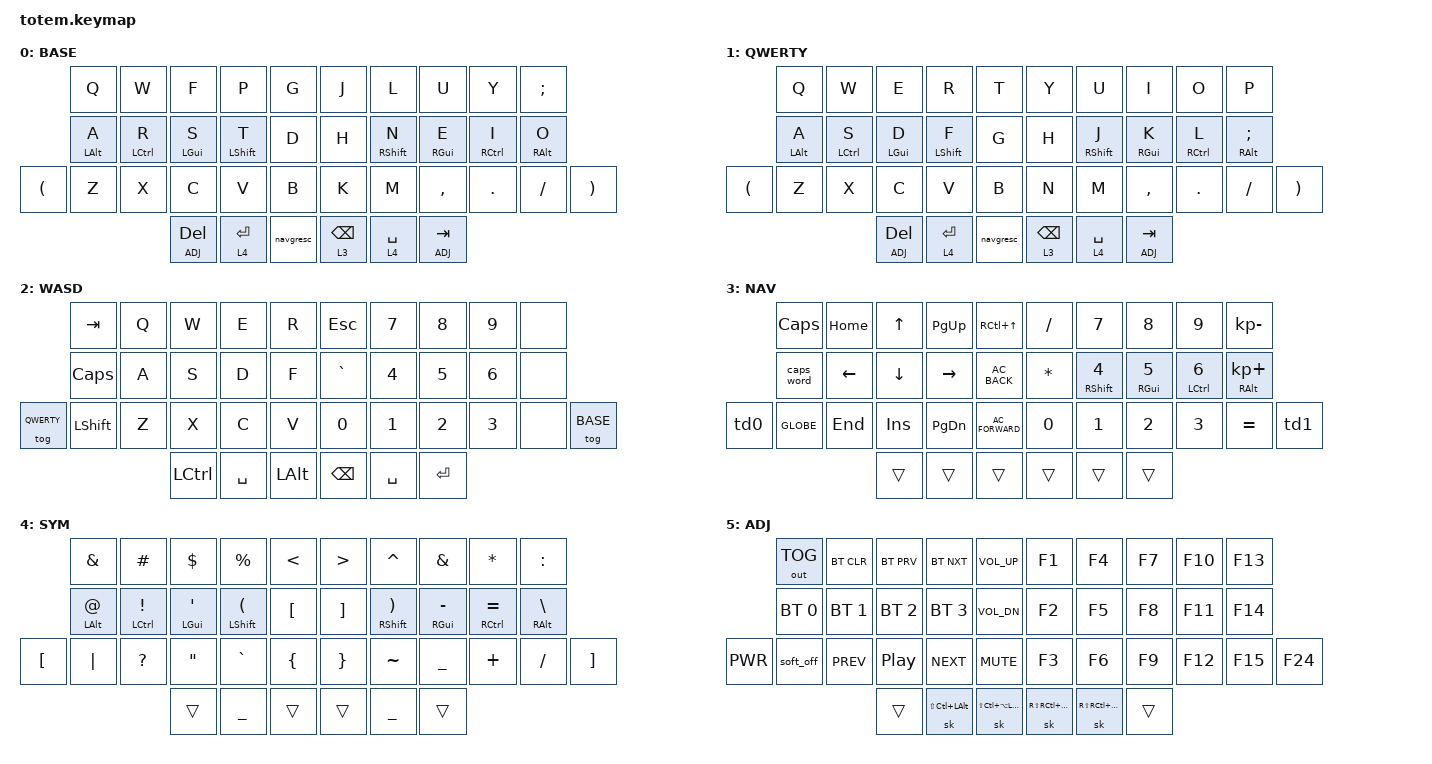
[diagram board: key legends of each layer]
//
//                                                        ▀▀▀▀▀     ▀▀▀▀▀          ▀▀█▀▀
//                                                        ▄▀▀▀▄  ▄  ▄▀▀▀▄  ▄  ▄▀▀▀▄  █  ▄▀▀▀▄
//                                                        █   █  █  █   █  █  █   █  █  █   █
//                                                         ▀▀▀   █   ▀▀▀   █   ▀▀▀   ▀   ▀▀▀
//                                                               █      ▄▄▄█▄▄▄    █   █  
//                                                               ▀      █  █  █     █▄█
//                                                             ▀▀▀▀▀    █  █  █      ▀
//                                                                      ▀  ▀  ▀
//
// ▄▄▄▄▄▄▄▄▄▄▄▄▄▄▄▄▄▄▄▄▄▄▄▄▄▄▄▄▄▄▄▄▄▄▄▄▄▄▄▄▄▄▄▄▄▄▄▄▄▄▄▄▄▄▄▄▄▄▄▄▄▄▄▄▄▄▄▄▄▄▄▄▄▄▄▄▄▄▄▄▄▄▄▄▄▄▄▄▄▄▄▄▄▄▄▄▄▄▄▄▄▄▄▄▄▄▄▄▄▄▄▄▄▄▄▄▄▄▄▄▄▄▄▄▄▄▄▄▄▄▄▄▄▄▄▄▄▄▄▄▄▄▄▄▄▄▄▄▄

#include <behaviors.dtsi>
#include <dt-bindings/zmk/bt.h>
#include <dt-bindings/zmk/keys.h>
#include <dt-bindings/zmk/outputs.h>

#define BASE   0
#define QWERTY 1
#define WASD   2
#define NAV    3
#define SYM    4
#define ADJ    5
#define MSNCTL C_AC_DESKTOP_SHOW_ALL_WINDOWS
#define C_AC_FWD C_AC_FORWARD
#define QUICK_TAP_MS 175

&mt {
    quick-tap-ms = <QUICK_TAP_MS>;
    global-quick-tap;
    flavor = "balanced";
    tapping-term-ms = <300>;
    require-prior-idle-ms = <200>;
};

&lt {
    quick-tap-ms = <QUICK_TAP_MS>;
    global-quick-tap;
    flavor = "tap-preferred";
    tapping-term-ms = <200>;
    require-prior-idle-ms = <200>;
};

&soft_off { hold-time-ms = <1000>; };

/ {
    combos {
        compatible = "zmk,combos";

        combo_caps_word {
            timeout-ms = <100>;
            key-positions = <34 35>;
            bindings = <&caps_word>;
            require-prior-idle-ms = <500>;
            layers = <0 1 2>;
        };

        combo_alfred {
            timeout-ms = <100>;
            key-positions = <33 36>;
            bindings = <&kp LC(SPACE)>;
            require-prior-idle-ms = <500>;
            layers = <0 1 2>;
        };

        combo_wasd {
            timeout-ms = <100>;
            key-positions = <23 24 22>;
            bindings = <&tog WASD>;
            require-prior-idle-ms = <500>;
            layers = <0 1>;
        };

        combo_base {
            timeout-ms = <100>;
            key-positions = <33 34 32>;
            bindings = <&tog BASE>;
            require-prior-idle-ms = <500>;
            layers = <2 3>;
        };

        combo_qwerty {
            timeout-ms = <100>;
            key-positions = <36 37 35>;
            bindings = <&tog QWERTY>;
            require-prior-idle-ms = <500>;
            layers = <0 4>;
        };
    };

    behaviors {
        td0: tap_dance_0 {
            compatible = "zmk,behavior-tap-dance";
            #binding-cells = <0>;
            tapping-term-ms = <200>;
            bindings = <&kp LC(LEFT)>, <&kp LC(LA(LEFT))>;
        };

        td1: tap_dance_1 {
            compatible = "zmk,behavior-tap-dance";
            #binding-cells = <0>;
            tapping-term-ms = <200>;
            bindings = <&kp LC(RIGHT)>, <&kp LC(LA(RIGHT))>;
        };

        navgresc: nav_grave_escape {
            compatible = "zmk,behavior-mod-morph";
            #binding-cells = <0>;
            bindings = <&lt 3 ESC>, <&kp GRAVE>;

            mods = <(MOD_LGUI|MOD_LSFT|MOD_RGUI|MOD_RSFT)>;
            keep-mods = <(MOD_LGUI|MOD_LSFT|MOD_RGUI|MOD_RSFT)>;
        };

        //        lparlt: lparen_lt {
        //            compatible = "zmk,behavior-mod-morph";
        //            #binding-cells = <0>;
        //            bindings = <&kp LPAR>, <&kp LT>;
        //
        //            mods = <(MOD_LSFT|MOD_RSFT)>;
        //        };
        //
        //        rpargt: rparen_gt {
        //            compatible = "zmk,behavior-mod-morph";
        //            #binding-cells = <0>;
        //            bindings = <&kp RPAR>, <&kp GT>;
        //
        //            mods = <(MOD_LSFT|MOD_RSFT)>;
        //        };
    };

    keymap {
        compatible = "zmk,keymap";

        // ▄▄▄▄▄▄▄▄▄▄▄▄▄▄▄▄▄▄▄▄▄▄▄▄▄▄▄▄▄▄▄▄▄▄▄▄▄▄▄▄▄▄▄▄▄▄▄▄▄▄▄▄▄▄▄▄▄▄▄▄▄▄▄▄▄▄▄▄▄▄▄▄▄▄▄▄▄▄▄▄▄▄▄▄▄▄▄▄▄▄▄▄▄▄▄▄▄▄▄▄▄▄▄▄▄▄▄▄▄▄▄▄▄▄▄▄▄▄▄▄▄▄▄▄▄▄▄▄▄▄▄▄▄▄▄▄▄▄▄▄▄▄▄▄▄▄▄▄▄

        base_layer {
            // ┏━━━━━━━━━━━━━━━━━━━━━━━━━━━━━━━━━━━━━━━┓

            label = "BASE";

            // ┗━━━━━━━━━━━━━━━━━━━━━━━━━━━━━━━━━━━━━━━┛
            //             ┏━━━━━━━━━━━┳━━━━━━━━━━━┳━━━━━━━━━━━┳━━━━━━━━━━━┳━━━━━━━━━━━┓   ┏━━━━━━━━━━━┳━━━━━━━━━━━┳━━━━━━━━━━━┳━━━━━━━━━━━┳━━━━━━━━━━━┓
            //             ┃     Q     ┃     W     ┃     F     ┃     P     ┃     G     ┃   ┃     J     ┃     L     ┃     U     ┃     Y     ┃     ;     ┃
            //             ┣━━━━━━━━━━━╋━━━━━━━━━━━╋━━━━━━━━━━━╋━━━━━━━━━━━╋━━━━━━━━━━━┫   ┣━━━━━━━━━━━╋━━━━━━━━━━━╋━━━━━━━━━━━╋━━━━━━━━━━━╋━━━━━━━━━━━┫
            //             ┃    A[A]   ┃    R[C]   ┃    S[G]   ┃    T[S]   ┃     D     ┃   ┃     H     ┃    N[S]   ┃    E[G]   ┃    I[C]   ┃    O[A]   ┃
            // ┏━━━━━━━━━━━╋━━━━━━━━━━━╋━━━━━━━━━━━╋━━━━━━━━━━━╋━━━━━━━━━━━╋━━━━━━━━━━━┫   ┣━━━━━━━━━━━╋━━━━━━━━━━━╋━━━━━━━━━━━╋━━━━━━━━━━━╋━━━━━━━━━━━╋━━━━━━━━━━━┓
            // ┃     (     ┃     Z     ┃     X     ┃     C     ┃     V     ┃     B     ┃   ┃     K     ┃     M     ┃     ,     ┃     .     ┃     /     ┃     )     ┃
            // ┗━━━━━━━━━━━┻━━━━━━━━━━━┻━━━━━━━━━━━╋━━━━━━━━━━━╋━━━━━━━━━━━╋━━━━━━━━━━━┫   ┣━━━━━━━━━━━╋━━━━━━━━━━━╋━━━━━━━━━━━╋━━━━━━━━━━━┻━━━━━━━━━━━┻━━━━━━━━━━━┛
            //                                     ┃  DEL[ADJ] ┃ ENTER[NAV]┃GR/ESC[SYM]┃   ┃ BSPC[SYM] ┃  SPC[NAV] ┃  TAB[ADJ] ┃
            //                                     ┗━━━━━━━━━━━┻━━━━━━━━━━━┻━━━━━━━━━━━┛   ┗━━━━━━━━━━━┻━━━━━━━━━━━┻━━━━━━━━━━━┛

            bindings = <
          &kp Q       &kp W        &kp F        &kp P        &kp G        &kp J       &kp L        &kp U        &kp Y        &kp SEMI
          &mt LALT A  &mt LCTRL R  &mt LGUI S   &mt LSHFT T  &kp D        &kp H       &mt RSHFT N  &mt RGUI E   &mt RCTRL I  &mt RALT O
&kp LPAR  &kp Z       &kp X        &kp C        &kp V        &kp B        &kp K       &kp M        &kp COMMA    &kp DOT      &kp FSLH    &kp RPAR
                                   &lt ADJ DEL  &lt 4 ENTER  &navgresc    &lt 3 BSPC  &lt 4 SPACE  &lt ADJ TAB
            >;
        };

        // ▄▄▄▄▄▄▄▄▄▄▄▄▄▄▄▄▄▄▄▄▄▄▄▄▄▄▄▄▄▄▄▄▄▄▄▄▄▄▄▄▄▄▄▄▄▄▄▄▄▄▄▄▄▄▄▄▄▄▄▄▄▄▄▄▄▄▄▄▄▄▄▄▄▄▄▄▄▄▄▄▄▄▄▄▄▄▄▄▄▄▄▄▄▄▄▄▄▄▄▄▄▄▄▄▄▄▄▄▄▄▄▄▄▄▄▄▄▄▄▄▄▄▄▄▄▄▄▄▄▄▄▄▄▄▄▄▄▄▄▄▄▄▄▄▄▄▄▄▄

        qwerty_layer {
            // ┏━━━━━━━━━━━━━━━━━━━━━━━━━━━━━━━━━━━━━━━┓

            label = "QWERTY";

            // ┗━━━━━━━━━━━━━━━━━━━━━━━━━━━━━━━━━━━━━━━┛
            //             ┏━━━━━━━━━━━┳━━━━━━━━━━━┳━━━━━━━━━━━┳━━━━━━━━━━━┳━━━━━━━━━━━┓   ┏━━━━━━━━━━━┳━━━━━━━━━━━┳━━━━━━━━━━━┳━━━━━━━━━━━┳━━━━━━━━━━━┓
            //             ┃     Q     ┃     W     ┃     E     ┃     R     ┃     T     ┃   ┃     Y     ┃     U     ┃     I     ┃     O     ┃     P     ┃
            //             ┣━━━━━━━━━━━╋━━━━━━━━━━━╋━━━━━━━━━━━╋━━━━━━━━━━━╋━━━━━━━━━━━┫   ┣━━━━━━━━━━━╋━━━━━━━━━━━╋━━━━━━━━━━━╋━━━━━━━━━━━╋━━━━━━━━━━━┫
            //             ┃     A     ┃     S     ┃     D     ┃     F     ┃     G     ┃   ┃     H     ┃     J     ┃     K     ┃     L     ┃     ;     ┃
            // ┏━━━━━━━━━━━╋━━━━━━━━━━━╋━━━━━━━━━━━╋━━━━━━━━━━━╋━━━━━━━━━━━╋━━━━━━━━━━━┫   ┣━━━━━━━━━━━╋━━━━━━━━━━━╋━━━━━━━━━━━╋━━━━━━━━━━━╋━━━━━━━━━━━╋━━━━━━━━━━━┓
            // ┃     Q     ┃     Z     ┃     X     ┃     C     ┃     V     ┃     B     ┃   ┃     N     ┃     M     ┃     ,     ┃     .     ┃     /     ┃     P     ┃
            // ┗━━━━━━━━━━━┻━━━━━━━━━━━┻━━━━━━━━━━━╋━━━━━━━━━━━╋━━━━━━━━━━━╋━━━━━━━━━━━┫   ┣━━━━━━━━━━━╋━━━━━━━━━━━╋━━━━━━━━━━━╋━━━━━━━━━━━┻━━━━━━━━━━━┻━━━━━━━━━━━┛
            //                                     ┃  DEL[ADJ] ┃ ENTER[NAV]┃GR/ESC[SYM]┃   ┃ BSPC[SYM] ┃  SPC[NAV] ┃  TAB[ADJ] ┃
            //                                     ┗━━━━━━━━━━━┻━━━━━━━━━━━┻━━━━━━━━━━━┛   ┗━━━━━━━━━━━┻━━━━━━━━━━━┻━━━━━━━━━━━┛

            bindings = <
                      &kp Q       &kp W        &kp E        &kp R        &kp T        &kp Y       &kp U        &kp I        &kp O        &kp P
                      &mt LALT A  &mt LCTRL S  &mt LGUI D   &mt LSHFT F  &kp G        &kp H       &mt RSHFT J  &mt RGUI K   &mt RCTRL L  &mt RALT SEMI
&kp LEFT_PARENTHESIS  &kp Z       &kp X        &kp C        &kp V        &kp B        &kp N       &kp M        &kp COMMA    &kp DOT      &kp FSLH       &kp RIGHT_PARENTHESIS
                                               &lt ADJ DEL  &lt 4 ENTER  &navgresc    &lt 3 BSPC  &lt 4 SPACE  &lt ADJ TAB
            >;
        };

        // ▄▄▄▄▄▄▄▄▄▄▄▄▄▄▄▄▄▄▄▄▄▄▄▄▄▄▄▄▄▄▄▄▄▄▄▄▄▄▄▄▄▄▄▄▄▄▄▄▄▄▄▄▄▄▄▄▄▄▄▄▄▄▄▄▄▄▄▄▄▄▄▄▄▄▄▄▄▄▄▄▄▄▄▄▄▄▄▄▄▄▄▄▄▄▄▄▄▄▄▄▄▄▄▄▄▄▄▄▄▄▄▄▄▄▄▄▄▄▄▄▄▄▄▄▄▄▄▄▄▄▄▄▄▄▄▄▄▄▄▄▄▄▄▄▄▄▄▄▄

        game_layer {
            // ┏━━━━━━━━━━━━━━━━━━━━━━━━━━━━━━━━━━━━━━━┓

            label = "WASD";

            // ┗━━━━━━━━━━━━━━━━━━━━━━━━━━━━━━━━━━━━━━━┛
            //             ┏━━━━━━━━━━━┳━━━━━━━━━━━┳━━━━━━━━━━━┳━━━━━━━━━━━┳━━━━━━━━━━━┓   ┏━━━━━━━━━━━┳━━━━━━━━━━━┳━━━━━━━━━━━┳━━━━━━━━━━━┳━━━━━━━━━━━┓
            //             ┃    TAB    ┃     Q     ┃     W     ┃     E     ┃     R     ┃   ┃    ESC    ┃     7     ┃     8     ┃     9     ┃           ┃
            //             ┣━━━━━━━━━━━╋━━━━━━━━━━━╋━━━━━━━━━━━╋━━━━━━━━━━━╋━━━━━━━━━━━┫   ┣━━━━━━━━━━━╋━━━━━━━━━━━╋━━━━━━━━━━━╋━━━━━━━━━━━╋━━━━━━━━━━━┫
            //             ┃   CAPS    ┃     A     ┃     S     ┃     D     ┃     F     ┃   ┃   GRAVE   ┃     4     ┃     5     ┃     6     ┃           ┃
            // ┏━━━━━━━━━━━╋━━━━━━━━━━━╋━━━━━━━━━━━╋━━━━━━━━━━━╋━━━━━━━━━━━╋━━━━━━━━━━━┫   ┣━━━━━━━━━━━╋━━━━━━━━━━━╋━━━━━━━━━━━╋━━━━━━━━━━━╋━━━━━━━━━━━╋━━━━━━━━━━━┓
            // ┃   QWERTY  ┃   SHIFT   ┃     Z     ┃     X     ┃     C     ┃     V     ┃   ┃     0     ┃     1     ┃     2     ┃     3     ┃           ┃    BASE   ┃
            // ┗━━━━━━━━━━━┻━━━━━━━━━━━┻━━━━━━━━━━━╋━━━━━━━━━━━╋━━━━━━━━━━━╋━━━━━━━━━━━┫   ┣━━━━━━━━━━━╋━━━━━━━━━━━╋━━━━━━━━━━━╋━━━━━━━━━━━┻━━━━━━━━━━━┻━━━━━━━━━━━┛
            //                                     ┃   LCTRL   ┃   SPACE   ┃    LALT   ┃   ┃    BSPC   ┃   SPACE   ┃   ENTER   ┃
            //                                     ┗━━━━━━━━━━━┻━━━━━━━━━━━┻━━━━━━━━━━━┛   ┗━━━━━━━━━━━┻━━━━━━━━━━━┻━━━━━━━━━━━┛

            bindings = <
             &kp TAB    &kp Q  &kp W      &kp E      &kp R       &kp ESC    &kp N7     &kp N8     &kp N9  &none
             &kp CAPS   &kp A  &kp S      &kp D      &kp F       &kp GRAVE  &kp N4     &kp N5     &kp N6  &none
&tog QWERTY  &kp LSHFT  &kp Z  &kp X      &kp C      &kp V       &kp N0     &kp N1     &kp N2     &kp N3  &none  &tog BASE
                               &kp LCTRL  &kp SPACE  &kp LALT    &kp BSPC   &kp SPACE  &kp ENTER
            >;
        };

        // ▄▄▄▄▄▄▄▄▄▄▄▄▄▄▄▄▄▄▄▄▄▄▄▄▄▄▄▄▄▄▄▄▄▄▄▄▄▄▄▄▄▄▄▄▄▄▄▄▄▄▄▄▄▄▄▄▄▄▄▄▄▄▄▄▄▄▄▄▄▄▄▄▄▄▄▄▄▄▄▄▄▄▄▄▄▄▄▄▄▄▄▄▄▄▄▄▄▄▄▄▄▄▄▄▄▄▄▄▄▄▄▄▄▄▄▄▄▄▄▄▄▄▄▄▄▄▄▄▄▄▄▄▄▄▄▄▄▄▄▄▄▄▄▄▄▄▄▄▄

        nav_layer {
            // ┏━━━━━━━━━━━━━━━━━━━━━━━━━━━━━━━━━━━━━━━┓

            label = "NAV";

            // ┗━━━━━━━━━━━━━━━━━━━━━━━━━━━━━━━━━━━━━━━┛
            //             ┏━━━━━━━━━━━┳━━━━━━━━━━━┳━━━━━━━━━━━┳━━━━━━━━━━━┳━━━━━━━━━━━┓   ┏━━━━━━━━━━━┳━━━━━━━━━━━┳━━━━━━━━━━━┳━━━━━━━━━━━┳━━━━━━━━━━━┓
            //             ┃    CAPS   ┃    HOME   ┃     UP    ┃   PG UP   ┃     MC    ┃   ┃     /     ┃     7     ┃     8     ┃     9     ┃     -     ┃
            //             ┣━━━━━━━━━━━╋━━━━━━━━━━━╋━━━━━━━━━━━╋━━━━━━━━━━━╋━━━━━━━━━━━┫   ┣━━━━━━━━━━━╋━━━━━━━━━━━╋━━━━━━━━━━━╋━━━━━━━━━━━╋━━━━━━━━━━━┫
            //             ┃ CAPS WORD ┃    LEFT   ┃    DOWN   ┃   RIGHT   ┃    BACK   ┃   ┃     *     ┃     4     ┃     5     ┃     6     ┃     +     ┃
            // ┏━━━━━━━━━━━╋━━━━━━━━━━━╋━━━━━━━━━━━╋━━━━━━━━━━━╋━━━━━━━━━━━╋━━━━━━━━━━━┫   ┣━━━━━━━━━━━╋━━━━━━━━━━━╋━━━━━━━━━━━╋━━━━━━━━━━━╋━━━━━━━━━━━╋━━━━━━━━━━━┓
            // ┃  DT/WD L  ┃   GLOBE   ┃    END    ┃    INS    ┃  PG DOWN  ┃    FWD    ┃   ┃     0     ┃     1     ┃     2     ┃     3     ┃     =     ┃  DT/WD R  ┃
            // ┗━━━━━━━━━━━┻━━━━━━━━━━━┻━━━━━━━━━━━╋━━━━━━━━━━━╋━━━━━━━━━━━╋━━━━━━━━━━━┫   ┣━━━━━━━━━━━╋━━━━━━━━━━━╋━━━━━━━━━━━╋━━━━━━━━━━━┻━━━━━━━━━━━┻━━━━━━━━━━━┛
            //                                     ┃           ┃           ┃           ┃   ┃           ┃           ┃           ┃
            //                                     ┗━━━━━━━━━━━┻━━━━━━━━━━━┻━━━━━━━━━━━┛   ┗━━━━━━━━━━━┻━━━━━━━━━━━┻━━━━━━━━━━━┛

            bindings = <
      &kp CAPS    &kp HOME  &kp UP    &kp PG_UP  &kp RC(UP)       &kp FSLH   &kp N7        &kp N8       &kp N9        &kp KP_MINUS
      &caps_word  &kp LEFT  &kp DOWN  &kp RIGHT  &kp C_AC_BACK    &kp ASTRK  &mt RSHFT N4  &mt RGUI N5  &mt LCTRL N6  &mt RALT KP_PLUS
&td0  &kp GLOBE   &kp END   &kp INS   &kp PG_DN  &kp C_AC_FWD     &kp N0     &kp N1        &kp N2       &kp N3        &kp EQUAL         &td1
                            &trans    &trans     &trans           &trans     &trans        &trans
            >;
        };

        // ▄▄▄▄▄▄▄▄▄▄▄▄▄▄▄▄▄▄▄▄▄▄▄▄▄▄▄▄▄▄▄▄▄▄▄▄▄▄▄▄▄▄▄▄▄▄▄▄▄▄▄▄▄▄▄▄▄▄▄▄▄▄▄▄▄▄▄▄▄▄▄▄▄▄▄▄▄▄▄▄▄▄▄▄▄▄▄▄▄▄▄▄▄▄▄▄▄▄▄▄▄▄▄▄▄▄▄▄▄▄▄▄▄▄▄▄▄▄▄▄▄▄▄▄▄▄▄▄▄▄▄▄▄▄▄▄▄▄▄▄▄▄▄▄▄▄▄▄▄

        sim_layer {
            // ┏━━━━━━━━━━━━━━━━━━━━━━━━━━━━━━━━━━━━━━━┓

            label = "SYM";

            // ┗━━━━━━━━━━━━━━━━━━━━━━━━━━━━━━━━━━━━━━━┛
            //             ┏━━━━━━━━━━━┳━━━━━━━━━━━┳━━━━━━━━━━━┳━━━━━━━━━━━┳━━━━━━━━━━━┓   ┏━━━━━━━━━━━┳━━━━━━━━━━━┳━━━━━━━━━━━┳━━━━━━━━━━━┳━━━━━━━━━━━┓
            //             ┃     &     ┃     #     ┃     $     ┃     %     ┃     <     ┃   ┃     >     ┃     ^     ┃     &     ┃     *     ┃     :     ┃
            //             ┣━━━━━━━━━━━╋━━━━━━━━━━━╋━━━━━━━━━━━╋━━━━━━━━━━━╋━━━━━━━━━━━┫   ┣━━━━━━━━━━━╋━━━━━━━━━━━╋━━━━━━━━━━━╋━━━━━━━━━━━╋━━━━━━━━━━━┫
            //             ┃     @     ┃     !     ┃     '     ┃     (     ┃     [     ┃   ┃     ]     ┃     )     ┃     -     ┃     +     ┃     \     ┃
            // ┏━━━━━━━━━━━╋━━━━━━━━━━━╋━━━━━━━━━━━╋━━━━━━━━━━━╋━━━━━━━━━━━╋━━━━━━━━━━━┫   ┣━━━━━━━━━━━╋━━━━━━━━━━━╋━━━━━━━━━━━╋━━━━━━━━━━━╋━━━━━━━━━━━╋━━━━━━━━━━━┓
            // ┃     &     ┃     |     ┃     ?     ┃     "     ┃     `     ┃     {     ┃   ┃     }     ┃     ~     ┃     _     ┃     =     ┃     /     ┃     :     ┃
            // ┗━━━━━━━━━━━┻━━━━━━━━━━━┻━━━━━━━━━━━╋━━━━━━━━━━━╋━━━━━━━━━━━╋━━━━━━━━━━━┫   ┣━━━━━━━━━━━╋━━━━━━━━━━━╋━━━━━━━━━━━╋━━━━━━━━━━━┻━━━━━━━━━━━┻━━━━━━━━━━━┛
            //                                     ┃           ┃     _     ┃           ┃   ┃           ┃     _     ┃           ┃
            //                                     ┗━━━━━━━━━━━┻━━━━━━━━━━━┻━━━━━━━━━━━┛   ┗━━━━━━━━━━━┻━━━━━━━━━━━┻━━━━━━━━━━━┛

            bindings = <
                  &kp AMPS     &kp HASH        &kp DLLR      &kp PRCNT       &kp LT      &kp GT    &kp CARET       &kp AMPS        &kp ASTRK        &kp COLON
                  &mt LALT AT  &mt LCTRL EXCL  &mt LGUI SQT  &mt LSHFT LPAR  &kp LBKT    &kp RBKT  &mt RSHFT RPAR  &mt RGUI MINUS  &mt RCTRL EQUAL  &mt RALT BSLH
&kp LEFT_BRACKET  &kp PIPE     &kp QMARK       &kp DQT       &kp GRAVE       &kp LBRC    &kp RBRC  &kp TILDE       &kp UNDER       &kp PLUS         &kp FSLH       &kp RIGHT_BRACKET
                                               &trans        &kp UNDER       &trans      &trans    &kp UNDER       &trans
            >;
        };

        // ▄▄▄▄▄▄▄▄▄▄▄▄▄▄▄▄▄▄▄▄▄▄▄▄▄▄▄▄▄▄▄▄▄▄▄▄▄▄▄▄▄▄▄▄▄▄▄▄▄▄▄▄▄▄▄▄▄▄▄▄▄▄▄▄▄▄▄▄▄▄▄▄▄▄▄▄▄▄▄▄▄▄▄▄▄▄▄▄▄▄▄▄▄▄▄▄▄▄▄▄▄▄▄▄▄▄▄▄▄▄▄▄▄▄▄▄▄▄▄▄▄▄▄▄▄▄▄▄▄▄▄▄▄▄▄▄▄▄▄▄▄▄▄▄▄▄▄▄▄

        adjust_layer {
            // ┏━━━━━━━━━━━━━━━━━━━━━━━━━━━━━━━━━━━━━━━┓

            label = "ADJ";

            // ┗━━━━━━━━━━━━━━━━━━━━━━━━━━━━━━━━━━━━━━━┛
            //             ┏━━━━━━━━━━━┳━━━━━━━━━━━┳━━━━━━━━━━━┳━━━━━━━━━━━┳━━━━━━━━━━━┓   ┏━━━━━━━━━━━┳━━━━━━━━━━━┳━━━━━━━━━━━┳━━━━━━━━━━━┳━━━━━━━━━━━┓
            //             ┃  BT CLEAR ┃  OUT TOG  ┃  BT PREV  ┃  BT NEXT  ┃    VOL+   ┃   ┃     F1    ┃    F4     ┃    F7     ┃    F10    ┃    F13    ┃
            //             ┣━━━━━━━━━━━╋━━━━━━━━━━━╋━━━━━━━━━━━╋━━━━━━━━━━━╋━━━━━━━━━━━┫   ┣━━━━━━━━━━━╋━━━━━━━━━━━╋━━━━━━━━━━━╋━━━━━━━━━━━╋━━━━━━━━━━━┫
            //             ┃  BT SEL 0 ┃  BT SEL 1 ┃  BT SEL 2 ┃  BT SEL 3 ┃    VOL-   ┃   ┃     F2    ┃    F5     ┃    F8     ┃    F11    ┃    F14    ┃
            // ┏━━━━━━━━━━━╋━━━━━━━━━━━╋━━━━━━━━━━━╋━━━━━━━━━━━╋━━━━━━━━━━━╋━━━━━━━━━━━┫   ┣━━━━━━━━━━━╋━━━━━━━━━━━╋━━━━━━━━━━━╋━━━━━━━━━━━╋━━━━━━━━━━━╋━━━━━━━━━━━┓
            // ┃    PWR    ┃   KB OFF  ┃    PREV   ┃    PLAY   ┃    NEXT   ┃    MUTE   ┃   ┃     F3    ┃    F6     ┃    F9     ┃    F12    ┃    F15    ┃    F24    ┃
            // ┗━━━━━━━━━━━┻━━━━━━━━━━━┻━━━━━━━━━━━╋━━━━━━━━━━━╋━━━━━━━━━━━╋━━━━━━━━━━━┫   ┣━━━━━━━━━━━╋━━━━━━━━━━━╋━━━━━━━━━━━╋━━━━━━━━━━━┻━━━━━━━━━━━┻━━━━━━━━━━━┛
            //                                     ┃           ┃   \MEH/   ┃  \HYPER/  ┃   ┃  \HYPER/  ┃   \MEH/   ┃           ┃
            //                                     ┗━━━━━━━━━━━┻━━━━━━━━━━━┻━━━━━━━━━━━┛   ┗━━━━━━━━━━━┻━━━━━━━━━━━┻━━━━━━━━━━━┛

            bindings = <
           &out OUT_TOG  &bt BT_CLR    &bt BT_PRV    &bt BT_NXT        &kp C_VOL_UP            &kp F1                &kp F4            &kp F7  &kp F10  &kp F13
           &bt BT_SEL 0  &bt BT_SEL 1  &bt BT_SEL 2  &bt BT_SEL 3      &kp C_VOL_DN            &kp F2                &kp F5            &kp F8  &kp F11  &kp F14
&kp C_PWR  &soft_off     &kp C_PREV    &kp C_PP      &kp C_NEXT        &kp C_MUTE              &kp F3                &kp F6            &kp F9  &kp F12  &kp F15  &kp F24
                                       &trans        &sk LS(LC(LALT))  &sk LS(LC(LA(LGUI)))    &sk RS(RC(RA(RGUI)))  &sk RS(RC(RALT))  &trans
            >;
        };
    };
};
